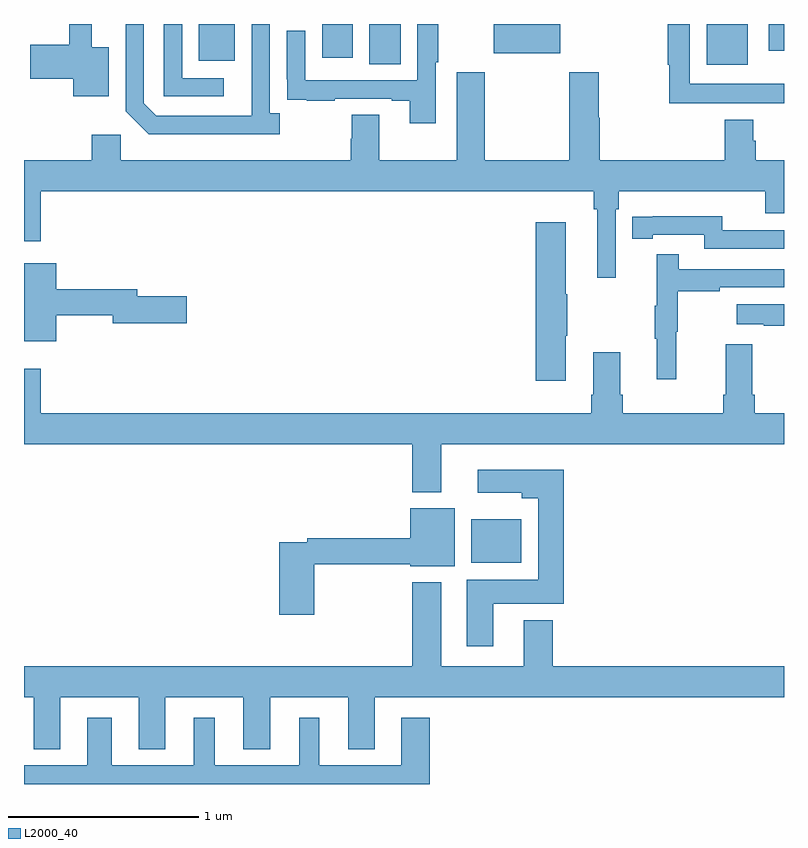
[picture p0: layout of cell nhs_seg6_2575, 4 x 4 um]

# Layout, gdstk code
import gdstk
lib = gdstk.Library(unit=1e-6, precision=1e-09)
def R(c, l, rs):  # rectangles x0, y0, x1, y1
    for r in rs: c.add(gdstk.rectangle(r[:2], r[2:], *l))
def P(c, l, *ps):  # polygons
    for p in ps: c.add(gdstk.Polygon(p, *l))
L2000_40 = (2000, 40)

nhs_seg6_2575 = lib.new_cell('nhs_seg6_2575')
R(nhs_seg6_2575, L2000_40, [(265.355,994.664,265.618,994.894), (266.594,997.286,266.809,997.5), (264.818,997.288,264.982,997.5), (263.921,997.307,264.109,997.5), (264.569,997.323,264.73,997.5), (265.472,997.346,265.822,997.5), (266.921,997.358,267,997.5)])
P(nhs_seg6_2575, L2000_40, [(264.052,997.215),(263.832,997.215),(263.832,997.5),(263.736,997.5),(263.736,997.119),(264.052,997.119)],
  [(263.446,997.378),(263.357,997.378),(263.357,997.5),(263.239,997.5),(263.239,997.391),(263.034,997.391),(263.034,997.213),(263.258,997.213),(263.258,997.121),(263.446,997.121)],
  [(264.346,997.03),(264.294,997.03),(264.294,997.5),(264.198,997.5),(264.198,997.017),(263.697,997.017),(263.631,997.083),(263.631,997.5),(263.535,997.5),(263.535,997.041),(263.656,996.92),(264.346,996.92)],
  [(267,997.186),(266.505,997.186),(266.505,997.5),(266.389,997.5),(266.389,997.286),(266.397,997.286),(266.397,997.082),(267,997.082)],
  [(265.167,997.3),(265.18,997.3),(265.18,997.5),(265.071,997.5),(265.071,997.203),(264.48,997.203),(264.48,997.465),(264.384,997.465),(264.384,997.21),(264.385,997.21),(264.385,997.101),(264.487,997.101),(264.487,997.095),(264.635,997.095),(264.635,997.107),(264.935,997.107),(264.935,997.095),(265.031,997.095),(265.031,996.978),(265.167,996.978)],
  [(266.115,996.524),(266.129,996.524),(266.129,996.62),(266.9,996.62),(266.9,996.503),(267,996.503),(267,996.784),(266.852,996.784),(266.852,996.885),(266.839,996.885),(266.839,996.997),(266.687,996.997),(266.687,996.784),(266.03,996.784),(266.03,997.007),(266.025,997.007),(266.025,997.246),(265.87,997.246),(265.87,996.784),(265.425,996.784),(265.425,997.246),(265.277,997.246),(265.277,996.784),(264.871,996.784),(264.871,997.022),(264.724,997.022),(264.724,996.897),(264.719,996.897),(264.719,996.784),(263.508,996.784),(263.508,996.916),(263.357,996.916),(263.357,996.784),(263,996.784),(263,996.357),(263.087,996.357),(263.087,996.62),(265.999,996.62),(265.999,996.524),(266.018,996.524),(266.018,996.165),(266.115,996.165)],
  [(267,996.414),(266.676,996.414),(266.676,996.487),(266.308,996.487),(266.308,996.486),(266.2,996.486),(266.2,996.37),(266.308,996.37),(266.308,996.39),(266.58,996.39),(266.58,996.318),(267,996.318)],
  [(265.852,995.86),(265.86,995.86),(265.86,996.077),(265.852,996.077),(265.852,996.457),(265.694,996.457),(265.694,995.622),(265.852,995.622)],
  [(266.432,995.88),(266.44,995.88),(266.44,996.094),(266.663,996.094),(266.663,996.114),(267,996.114),(267,996.21),(266.447,996.21),(266.447,996.289),(266.33,996.289),(266.33,996.017),(266.319,996.017),(266.319,995.843),(266.33,995.843),(266.33,995.631),(266.432,995.631)],
  [(263.17,995.968),(263.468,995.968),(263.468,995.926),(263.857,995.926),(263.857,996.068),(263.596,996.068),(263.596,996.104),(263.17,996.104),(263.17,996.241),(263,996.241),(263,995.831),(263.17,995.831)],
  [(267,996.025),(266.751,996.025),(266.751,995.921),(266.894,995.921),(266.894,995.911),(267,995.911)],
  [(267,995.452),(266.846,995.452),(266.846,995.548),(266.833,995.548),(266.833,995.815),(266.693,995.815),(266.693,995.548),(266.681,995.548),(266.681,995.452),(266.15,995.452),(266.15,995.548),(266.137,995.548),(266.137,995.773),(265.997,995.773),(265.997,995.548),(265.985,995.548),(265.985,995.452),(263.087,995.452),(263.087,995.686),(263,995.686),(263,995.288),(265.043,995.288),(265.043,995.036),(265.195,995.036),(265.195,995.288),(267,995.288)],
  [(265.471,994.448),(265.841,994.448),(265.841,995.155),(265.389,995.155),(265.389,995.033),(265.619,995.033),(265.619,995.003),(265.706,995.003),(265.706,994.576),(265.331,994.576),(265.331,994.224),(265.471,994.224)],
  [(264.527,994.657),(265.034,994.657),(265.034,994.646),(265.267,994.646),(265.267,994.951),(265.034,994.951),(265.034,994.793),(264.49,994.793),(264.49,994.773),(264.344,994.773),(264.344,994.392),(264.527,994.392)],
  [(263.191,993.956),(263.603,993.956),(263.603,993.683),(263.743,993.683),(263.743,993.956),(264.155,993.956),(264.155,993.683),(264.295,993.683),(264.295,993.956),(264.707,993.956),(264.707,993.683),(264.847,993.683),(264.847,993.956),(267,993.956),(267,994.12),(265.784,994.12),(265.784,994.363),(265.631,994.363),(265.631,994.12),(265.195,994.12),(265.195,994.561),(265.043,994.561),(265.043,994.12),(263,994.12),(263,993.956),(263.051,993.956),(263.051,993.683),(263.191,993.683)],
  [(265.136,993.85),(264.986,993.85),(264.986,993.598),(264.553,993.598),(264.553,993.85),(264.449,993.85),(264.449,993.598),(264.004,993.598),(264.004,993.85),(263.894,993.85),(263.894,993.598),(263.461,993.598),(263.461,993.85),(263.333,993.85),(263.333,993.598),(263,993.598),(263,993.5),(265.136,993.5)])

lib.write_gds('nhs_seg6_2575.gds')
